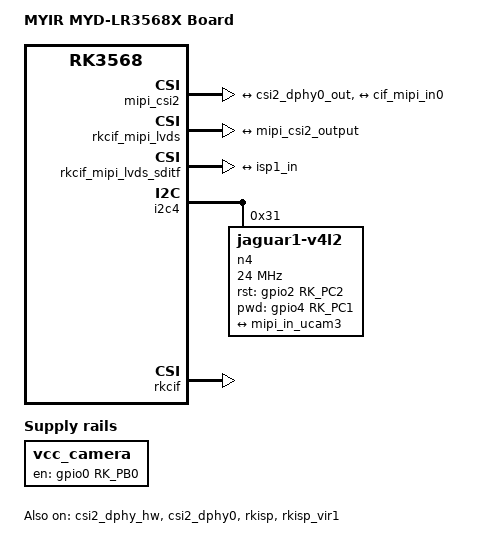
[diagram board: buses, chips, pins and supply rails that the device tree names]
// SPDX-License-Identifier: (GPL-2.0+ OR MIT)
/*
 * Copyright (c) 2023 Rockchip Electronics Co., Ltd.
 *
 */
/dts-v1/;

#include "myd-lr3568x.dts"

/ {
	model = "MYIR MYD-LR3568X Board";
	compatible = "rockchip,rk3568-evb8-lp4-v10", "rockchip,rk3568";

	vcc_camera: vcc-camera-regulator {
		compatible = "regulator-fixed";
		gpio = <&gpio0 RK_PB0 GPIO_ACTIVE_HIGH>;
		pinctrl-names = "default";
		pinctrl-0 = <&camera_pwr>;
		regulator-name = "vcc_camera";
		enable-active-high;
		regulator-always-on;
		regulator-boot-on;
	};

	clk_n4_fixed: clock {
		compatible = "fixed-clock";
		#clock-cells = <0>;
		clock-frequency = <24000000>;
		clock-output-names = "CLK_CAMERA_24MHZ";
	};
};

&csi2_dphy_hw {
	status = "okay";
};

&csi2_dphy0 {
	status = "okay";

	ports {
		#address-cells = <1>;
		#size-cells = <0>;
		port@0 {
			reg = <0>;
			#address-cells = <1>;
			#size-cells = <0>;

			/delete-node/ endpoint@1;
			/delete-node/ endpoint@2;
			/delete-node/ endpoint@3;

			mipi_in_ucam3: endpoint@4 {
				reg = <4>;
				remote-endpoint = <&n4_out>;
				data-lanes = <1 2 3 4>;
			};
		};
		port@1 {
			reg = <1>;
			#address-cells = <1>;
			#size-cells = <0>;

			/delete-node/ endpoint@0;

			csi2_dphy0_out: endpoint@1 {
				reg = <1>;
				remote-endpoint = <&mipi_csi2_input>;
			};
		};
	};
};

&mipi_csi2 {
	status = "okay";

	ports {
		#address-cells = <1>;
		#size-cells = <0>;

		port@0 {
			reg = <0>;
			#address-cells = <1>;
			#size-cells = <0>;

			mipi_csi2_input: endpoint@0 {
				reg = <0>;
				remote-endpoint = <&csi2_dphy0_out>;
				data-lanes = <1 2 3 4>;
			};
		};

		port@1 {
			reg = <1>;
			#address-cells = <1>;
			#size-cells = <0>;

			mipi_csi2_output: endpoint@0 {
				reg = <0>;
				remote-endpoint = <&cif_mipi_in0>;
				data-lanes = <1 2 3 4>;
			};
		};
	};
};

&rkcif_mipi_lvds {
	status = "okay";

	port {
		cif_mipi_in0: endpoint {
			remote-endpoint = <&mipi_csi2_output>;
			data-lanes = <1 2 3 4>;
		};
	};
};

&rkcif_mipi_lvds_sditf {
	status = "okay";

	port {
		mipi_lvds_sditf: endpoint {
			remote-endpoint = <&isp1_in>;
			data-lanes = <1 2 3 4>;
		};
	};
};

&i2c4 {
	status = "okay";

	/delete-node/ ov13855@36;
	/delete-node/ ov5645@3c;
	/delete-node/ ov5640@3c;

	n4: n4@31 {
		status = "okay";
		compatible = "jaguar1-v4l2";
		reg = <0x31>;
		clocks = <&clk_n4_fixed>;
		clock-names = "xvclk";
		clock-frequency = <24000000>;
		power-domains = <&power RK3568_PD_VI>;
		pinctrl-names = "rockchip,camera_default",
                        "rockchip,camera_sleep";
		pinctrl-0 = <&camera_default_pins>;
		pinctrl-1 = <&camera_sleep_pins>;
		rst-gpios = <&gpio2 RK_PC2 GPIO_ACTIVE_HIGH>;
		pwd-gpios = <&gpio4 RK_PC1 GPIO_ACTIVE_HIGH>;
		rockchip,pwd-gpio = <&gpio4 RK_PC1 GPIO_ACTIVE_HIGH>;
		rockchip,rst-gpio = <&gpio2 RK_PC2 GPIO_ACTIVE_HIGH>;
		rockchip,camera-module-index = <0>;
		rockchip,camera-module-facing = "back";
		rockchip,camera-module-name = "jaguar1";
		rockchip,camera-module-lens-name = "jaguar1";
		rockchip,default_rect= <1920 1080>;
		port {
			n4_out: endpoint {
				remote-endpoint = <&mipi_in_ucam3>;
				data-lanes = <1 2 3 4>;
			};
		};
	};
};

&pinctrl {
	cam {
		camera_pwr: camera-pwr {
			rockchip,pins =
				/* camera power en */
				<0 RK_PB0 RK_FUNC_GPIO &pcfg_pull_none>;
		};
	};
	camera_default_pins {
		camera_default_pins: camera-default-pins {
			rockchip,pins =
				<2 RK_PC2 RK_FUNC_GPIO &pcfg_pull_up>,
				<4 RK_PC1 RK_FUNC_GPIO &pcfg_pull_up>;
		};
	};

	camera_sleep_pins {
		camera_sleep_pins: camera-sleep-pins {
			rockchip,pins =
				<2 RK_PC2 RK_FUNC_GPIO &pcfg_pull_up>,
				<4 RK_PC1 RK_FUNC_GPIO &pcfg_pull_up>;
		};
	};
};


&rkisp {
	status = "okay";
};

&rkisp_mmu {
	status = "okay";
};

/delete-node/ &rkisp_vir0;

&rkisp_vir1 {
	status = "okay";

	port {
		#address-cells = <1>;
		#size-cells = <0>;

		isp1_in: endpoint@0 {
			reg = <0>;
			remote-endpoint = <&mipi_lvds_sditf>;
		};
	};
};

&rkcif_mmu {
    status = "okay";
};

&rkcif {
    status = "okay";
};
